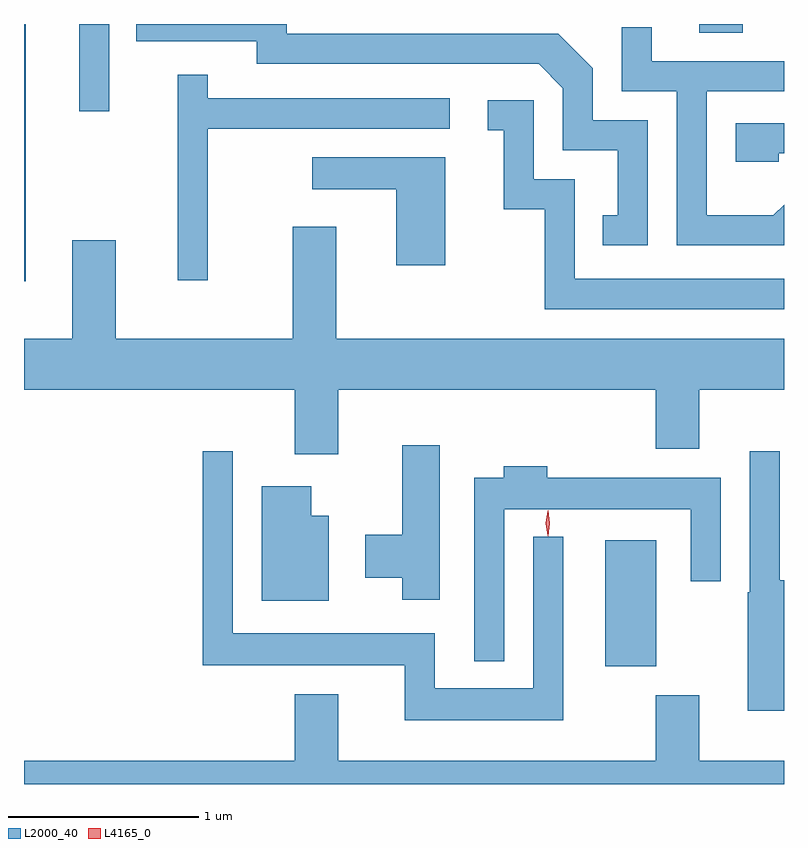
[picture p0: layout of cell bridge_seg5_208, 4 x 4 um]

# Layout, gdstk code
import gdstk
lib = gdstk.Library(unit=1e-6, precision=1e-09)
def R(c, l, rs):  # rectangles x0, y0, x1, y1
    for r in rs: c.add(gdstk.rectangle(r[:2], r[2:], *l))
def P(c, l, *ps):  # polygons
    for p in ps: c.add(gdstk.Polygon(p, *l))
L2000_40 = (2000, 40)
L4165_0 = (4165, 0)

bridge_seg5_208 = lib.new_cell('bridge_seg5_208')
R(bridge_seg5_208, L2000_40, [(1278.636,1422.041,1278.904,1422.704), (1275.576,1424.066,1275.584,1425.421), (1275.866,1424.963,1276.024,1425.421), (1279.131,1425.376,1279.359,1425.421)])
P(bridge_seg5_208, L2000_40, [(1278.859,1424.914),(1278.569,1424.914),(1278.569,1425.187),(1278.387,1425.369),(1276.959,1425.369),(1276.959,1425.421),(1276.168,1425.421),(1276.168,1425.331),(1276.801,1425.331),(1276.801,1425.211),(1278.284,1425.211),(1278.411,1425.084),(1278.411,1424.756),(1278.701,1424.756),(1278.701,1424.414),(1278.623,1424.414),(1278.623,1424.256),(1278.859,1424.256)],
  [(1279.576,1424.471),(1279.519,1424.414),(1279.169,1424.414),(1279.169,1425.066),(1279.576,1425.066),(1279.576,1425.224),(1278.879,1425.224),(1278.879,1425.403),(1278.721,1425.403),(1278.721,1425.066),(1279.011,1425.066),(1279.011,1424.256),(1279.576,1424.256)],
  [(1276.544,1424.871),(1277.818,1424.871),(1277.818,1425.029),(1276.544,1425.029),(1276.544,1425.153),(1276.386,1425.153),(1276.386,1424.073),(1276.544,1424.073)],
  [(1279.576,1424.079),(1278.474,1424.079),(1278.474,1424.604),(1278.259,1424.604),(1278.259,1425.019),(1278.018,1425.019),(1278.018,1424.861),(1278.101,1424.861),(1278.101,1424.446),(1278.316,1424.446),(1278.316,1423.921),(1279.576,1423.921)],
  [(1279.549,1424.741),(1279.576,1424.741),(1279.576,1424.899),(1279.321,1424.899),(1279.321,1424.696),(1279.549,1424.696)],
  [(1277.794,1424.719),(1277.093,1424.719),(1277.093,1424.551),(1277.536,1424.551),(1277.536,1424.151),(1277.794,1424.151)],
  [(1277.229,1423.496),(1278.901,1423.496),(1278.901,1423.186),(1279.129,1423.186),(1279.129,1423.496),(1279.576,1423.496),(1279.576,1423.764),(1277.219,1423.764),(1277.219,1424.354),(1276.991,1424.354),(1276.991,1423.764),(1276.059,1423.764),(1276.059,1424.284),(1275.831,1424.284),(1275.831,1423.764),(1275.576,1423.764),(1275.576,1423.496),(1277.001,1423.496),(1277.001,1423.156),(1277.229,1423.156)],
  [(1277.764,1423.204),(1277.566,1423.204),(1277.566,1422.734),(1277.371,1422.734),(1277.371,1422.506),(1277.566,1422.506),(1277.566,1422.391),(1277.764,1422.391)],
  [(1279.576,1422.494),(1279.554,1422.494),(1279.554,1423.173),(1279.396,1423.173),(1279.396,1422.43),(1279.386,1422.43),(1279.386,1421.806),(1279.576,1421.806)],
  [(1278.414,1422.723),(1278.256,1422.723),(1278.256,1421.924),(1277.739,1421.924),(1277.739,1422.214),(1276.674,1422.214),(1276.674,1423.173),(1276.516,1423.173),(1276.516,1422.046),(1277.581,1422.046),(1277.581,1421.756),(1278.414,1421.756)],
  [(1278.104,1422.866),(1279.086,1422.866),(1279.086,1422.488),(1279.244,1422.488),(1279.244,1423.034),(1278.329,1423.034),(1278.329,1423.094),(1278.101,1423.094),(1278.101,1423.034),(1277.946,1423.034),(1277.946,1422.068),(1278.104,1422.068)],
  [(1277.179,1422.834),(1277.089,1422.834),(1277.089,1422.989),(1276.826,1422.989),(1276.826,1422.386),(1277.179,1422.386)],
  [(1279.576,1421.544),(1279.129,1421.544),(1279.129,1421.889),(1278.901,1421.889),(1278.901,1421.544),(1277.229,1421.544),(1277.229,1421.894),(1277.001,1421.894),(1277.001,1421.544),(1275.576,1421.544),(1275.576,1421.421),(1279.576,1421.421)])
P(bridge_seg5_208, L4165_0, [(1278.333,1422.727),(1278.323,1422.794),(1278.333,1422.86),(1278.333,1422.86),(1278.334,1422.86),(1278.343,1422.794),(1278.334,1422.727),(1278.334,1422.727)],
  [(1278.334,1422.724),(1278.334,1422.724),(1278.324,1422.793),(1278.334,1422.863),(1278.334,1422.863),(1278.335,1422.863),(1278.344,1422.793),(1278.335,1422.724)])

lib.write_gds('bridge_seg5_208.gds')
